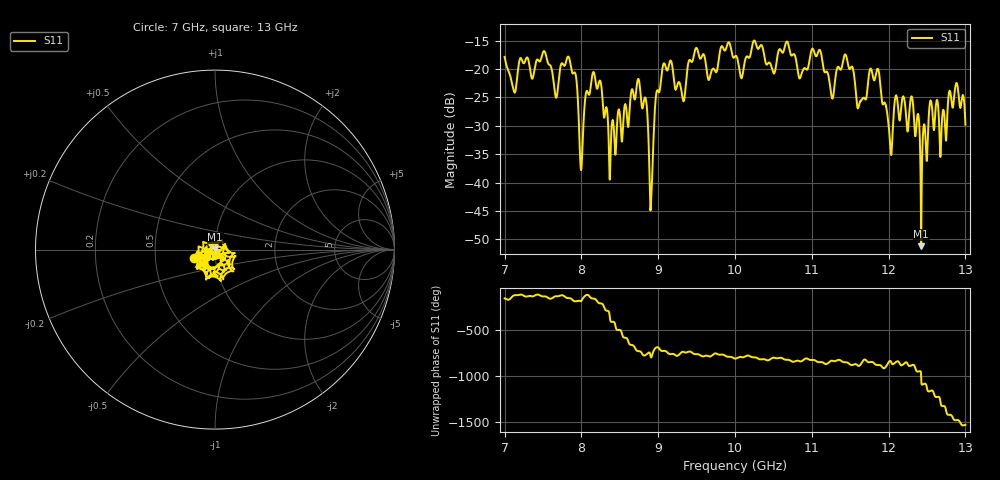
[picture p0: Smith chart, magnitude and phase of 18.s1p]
[Version] 2.0
! Rohde & Schwarz Vector Network Analyzer
! Rohde-Schwarz,ZNL20-2Port,1323001220200009,1.71.1.10-23.02.1.238
! Trace info:
! Nominal Param -> Actual Exported Buffer
! S11 -> S22
! Created: GMT+3 2024-09-24 16:40:08
# Hz S DB R 50
[Number of Ports] 1
! freq[Hz]  S11[mag dB]  S11[ang]
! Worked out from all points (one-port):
!   6001 points, 7 GHz to 13 GHz, reference 50 ohm
!   lowest |S11| = -51.2 dB at 12.42 GHz (marker M1), VSWR 1.01, Z = 50.1 + j0.243 ohm
!   |S11| at or under -10 dB: start of sweep to end of sweep
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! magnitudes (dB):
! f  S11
! 7 GHz  -17.9
! 7.125 GHz  -24.1
! 7.75 GHz  -19.0
! 7.92 GHz  -20.8
! 7.996 GHz  -37.7
! 8.154 GHz  -20.5
! 8.37 GHz  -39.5
! 8.5 GHz  -27.9
! 8.745 GHz  -21.8
! 8.843 GHz  -25.6
! 8.907 GHz  -43.5
! 8.971 GHz  -24.7
! 9.064 GHz  -19.3
! 9.25 GHz  -22.7
! 10 GHz  -17.8
! 10.75 GHz  -17.5
! 11.1 GHz  -16.6
! 11.27 GHz  -25.2
! 11.5 GHz  -19.9
! 11.61 GHz  -26.5
! 11.86 GHz  -20.0
! 12.03 GHz  -34.5
! 12.1 GHz  -24.7
! 12.25 GHz  -30.9
! 12.3 GHz  -24.9
! 12.42 GHz  -51.2
! 12.55 GHz  -25.6
! 13 GHz  -29.8
